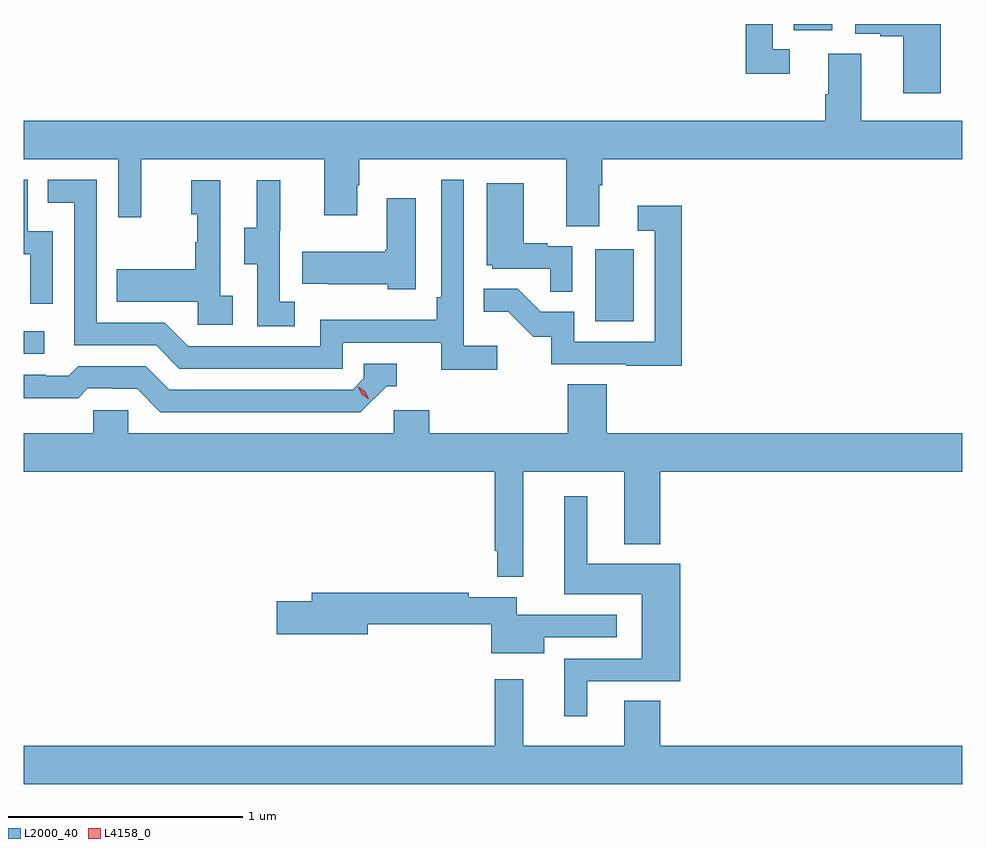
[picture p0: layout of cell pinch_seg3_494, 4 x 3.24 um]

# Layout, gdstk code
import gdstk
lib = gdstk.Library(unit=1e-6, precision=1e-09)
def R(c, l, rs):  # rectangles x0, y0, x1, y1
    for r in rs: c.add(gdstk.rectangle(r[:2], r[2:], *l))
def P(c, l, *ps):  # polygons
    for p in ps: c.add(gdstk.Polygon(p, *l))
L2000_40 = (2000, 40)
L4158_0 = (4158, 0)

pinch_seg3_494 = lib.new_cell('pinch_seg3_494')
R(pinch_seg3_494, L2000_40, [(998.09,669.45,998.176,669.546), (1000.526,669.588,1000.69,669.895), (1001.372,670.83,1001.536,670.856)])
P(pinch_seg3_494, L2000_40, [(1001.356,670.749),(1001.283,670.749),(1001.283,670.856),(1001.167,670.856),(1001.167,670.644),(1001.356,670.644)],
  [(1001.998,670.856),(1001.634,670.856),(1001.634,670.815),(1001.741,670.815),(1001.741,670.803),(1001.84,670.803),(1001.84,670.56),(1001.998,670.56)],
  [(1000.543,670.168),(1000.556,670.168),(1000.556,670.28),(1002.09,670.28),(1002.09,670.444),(1001.659,670.444),(1001.659,670.73),(1001.519,670.73),(1001.519,670.556),(1001.507,670.556),(1001.507,670.444),(998.09,670.444),(998.09,670.28),(998.493,670.28),(998.493,670.032),(998.591,670.032),(998.591,670.28),(999.371,670.28),(999.371,670.041),(999.511,670.041),(999.511,670.169),(999.519,670.169),(999.519,670.28),(1000.403,670.28),(1000.403,669.994),(1000.543,669.994)],
  [(1000.108,669.484),(999.966,669.484),(999.966,670.192),(999.87,670.192),(999.87,669.691),(999.85,669.691),(999.85,669.595),(999.354,669.595),(999.354,669.483),(998.79,669.483),(998.691,669.582),(998.4,669.582),(998.4,670.191),(998.191,670.191),(998.191,670.095),(998.304,670.095),(998.304,669.486),(998.654,669.486),(998.753,669.387),(999.45,669.387),(999.45,669.498),(999.869,669.498),(999.869,669.382),(1000.108,669.382)],
  [(998.214,669.972),(998.106,669.972),(998.106,670.191),(998.09,670.191),(998.09,669.875),(998.118,669.875),(998.118,669.663),(998.214,669.663)],
  [(999.244,669.671),(999.18,669.671),(999.18,669.975),(999.182,669.975),(999.182,670.189),(999.083,670.189),(999.083,669.987),(999.029,669.987),(999.029,669.832),(999.084,669.832),(999.084,669.568),(999.244,669.568)],
  [(998.98,669.698),(998.928,669.698),(998.928,670.189),(998.804,670.189),(998.804,670.044),(998.83,670.044),(998.83,669.926),(998.82,669.926),(998.82,669.811),(998.485,669.811),(998.485,669.671),(998.832,669.671),(998.832,669.573),(998.98,669.573)],
  [(1000.428,669.909),(1000.322,669.909),(1000.322,669.922),(1000.222,669.922),(1000.222,670.177),(1000.064,670.177),(1000.064,669.828),(1000.086,669.828),(1000.086,669.813),(1000.333,669.813),(1000.333,669.715),(1000.428,669.715)],
  [(999.76,670.114),(999.638,670.114),(999.638,669.894),(999.631,669.894),(999.631,669.886),(999.277,669.886),(999.277,669.749),(999.385,669.749),(999.385,669.746),(999.642,669.746),(999.642,669.725),(999.76,669.725)],
  [(1000.895,670.081),(1000.707,670.081),(1000.707,669.975),(1000.779,669.975),(1000.779,669.501),(1000.437,669.501),(1000.437,669.63),(1000.293,669.63),(1000.195,669.728),(1000.051,669.728),(1000.051,669.629),(1000.155,669.629),(1000.262,669.522),(1000.339,669.522),(1000.339,669.405),(1000.657,669.405),(1000.657,669.4),(1000.895,669.4)],
  [(999.636,669.312),(999.679,669.312),(999.679,669.408),(999.54,669.408),(999.54,669.345),(999.492,669.297),(998.709,669.297),(998.61,669.396),(998.321,669.396),(998.282,669.357),(998.183,669.357),(998.183,669.36),(998.09,669.36),(998.09,669.261),(998.321,669.261),(998.363,669.303),(998.466,669.303),(998.466,669.3),(998.573,669.3),(998.672,669.201),(999.525,669.201)],
  [(1000.219,668.948),(1000.649,668.948),(1000.649,668.639),(1000.802,668.639),(1000.802,668.948),(1002.09,668.948),(1002.09,669.112),(1000.574,669.112),(1000.574,669.32),(1000.409,669.32),(1000.409,669.112),(999.818,669.112),(999.818,669.21),(999.666,669.21),(999.666,669.112),(998.535,669.112),(998.535,669.21),(998.385,669.21),(998.385,669.112),(998.09,669.112),(998.09,668.948),(1000.098,668.948),(1000.098,668.611),(1000.108,668.611),(1000.108,668.499),(1000.219,668.499)],
  [(1000.492,668.055),(1000.888,668.055),(1000.888,668.554),(1000.492,668.554),(1000.492,668.842),(1000.394,668.842),(1000.394,668.426),(1000.724,668.426),(1000.724,668.151),(1000.394,668.151),(1000.394,667.905),(1000.492,667.905)],
  [(1000.309,668.241),(1000.618,668.241),(1000.618,668.337),(1000.192,668.337),(1000.192,668.412),(999.986,668.412),(999.986,668.432),(999.317,668.432),(999.317,668.396),(999.168,668.396),(999.168,668.254),(999.556,668.254),(999.556,668.296),(1000.082,668.296),(1000.082,668.174),(1000.309,668.174)],
  [(1002.09,667.78),(1000.802,667.78),(1000.802,667.97),(1000.649,667.97),(1000.649,667.78),(1000.219,667.78),(1000.219,668.062),(1000.098,668.062),(1000.098,667.78),(998.09,667.78),(998.09,667.616),(1002.09,667.616)])
P(pinch_seg3_494, L4158_0, [(999.561,669.257),(999.531,669.277),(999.515,669.31),(999.515,669.31),(999.515,669.31),(999.546,669.29),(999.561,669.257),(999.561,669.257)])

lib.write_gds('pinch_seg3_494.gds')
